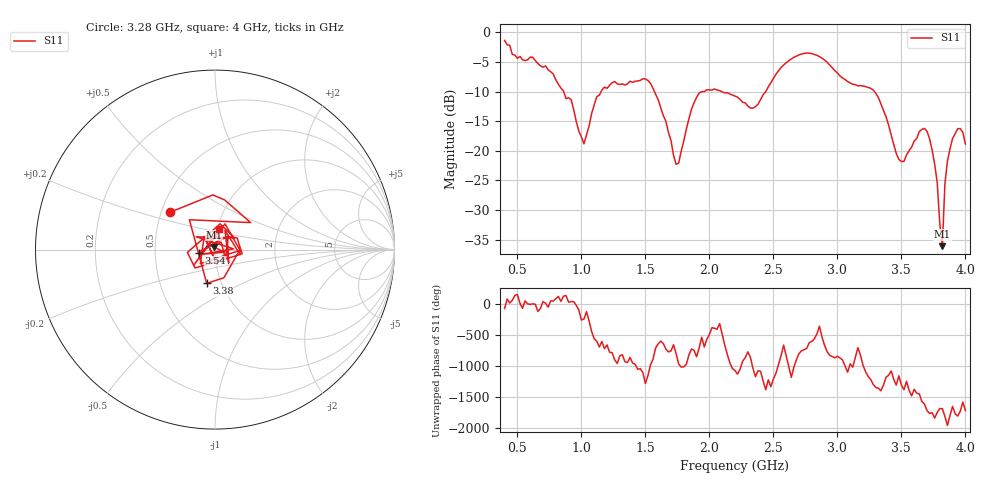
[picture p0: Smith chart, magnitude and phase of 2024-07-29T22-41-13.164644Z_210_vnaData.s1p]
!Created with skrf (http://scikit-rf.org).
# Hz S RI R 50.0
!freq ReS11 ImS11
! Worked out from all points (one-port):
!   181 points, 400 MHz to 4 GHz, reference 50 ohm
!   lowest |S11| = -36.1 dB at 3.82 GHz (marker M1), VSWR 1.03, Z = 49.4 + j1.45 ohm
!   |S11| at or under -10 dB: 1.571 GHz to 1.961 GHz (390.6 MHz wide, 22.1 % of centre); 2.094 GHz to 2.441 GHz (347.3 MHz wide, 15.3 % of centre); 3.289 GHz to end of sweep (the widest 3 of 4)
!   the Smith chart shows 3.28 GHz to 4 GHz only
!   S11 on the Smith chart (normalised r, x): 3.28 GHz: 0.56, +0.26; 3.38 GHz: 0.85, -0.33; 3.54 GHz: 0.83, -0.03; 4 GHz: 1.01, +0.23
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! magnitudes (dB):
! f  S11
! 400 MHz  -1.4
! 720 MHz  -5.7
! 860 MHz  -9.9
! 920 MHz  -11.4
! 1.02 GHz  -18.8
! 1.12 GHz  -10.9
! 1.3 GHz  -8.8
! 1.54 GHz  -8.6
! 1.76 GHz  -22.1
! 1.86 GHz  -13.0
! 1.92 GHz  -10.3
! 2.2 GHz  -10.8
! 2.36 GHz  -12.5
! 2.66 GHz  -4.2
! 2.84 GHz  -3.9
! 3.1 GHz  -8.6
! 3.28 GHz  -9.7
! 3.38 GHz  -14.3
! 3.48 GHz  -21.5
! 3.54 GHz  -20.7
! 3.56 GHz  -20.0
! 3.7 GHz  -16.7
! 3.78 GHz  -25.4
! 3.82 GHz  -36.1
! 3.84 GHz  -25.5
! 3.88 GHz  -19.7
! 3.94 GHz  -16.3
! 4 GHz  -18.9
